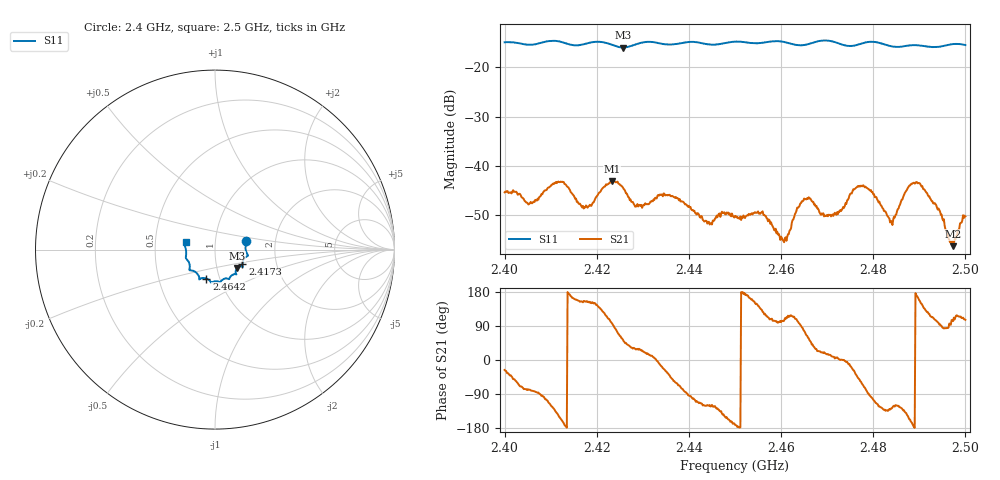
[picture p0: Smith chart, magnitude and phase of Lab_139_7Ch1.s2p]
# Hz S RI R 50
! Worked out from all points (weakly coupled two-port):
!   601 points, 2.4 GHz to 2.5 GHz, reference 50 ohm
!   highest |S21| = -43.09 dB at 2.4233 GHz (marker M1); lowest = -56.4 dB at 2.4973 GHz (marker M2)
!   lowest |S11| = -15.9 dB at 2.4257 GHz (marker M3), VSWR 1.38, Z = 62.4 - j13.1 ohm
!   |S11| at or under -10 dB: start of sweep to end of sweep
!   S12 and S22 are empty: the file has one direction only
!   S11 on the Smith chart (normalised r, x): 2.4 GHz: 1.41, +0.14; 2.4173 GHz: 1.34, -0.23; 2.4642 GHz: 0.86, -0.29; 2.5 GHz: 0.72, +0.06
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2.4e9  0.1734 0.0495  0.00481 -0.00237  0 0  0 0
2.4055e9  0.1698 0.00695  0.000829 -0.00408  0 0  0 0
2.412333e9  0.1779 -0.0373  -0.00633 -0.00258  0 0  0 0
2.416667e9  0.1529 -0.0747  -0.00348 0.00165  0 0  0 0
2.417333e9  0.1524 -0.0821  -0.00347 0.00157  0 0  0 0
2.423333e9  0.1423 -0.0932  -0.000787 0.00697  0 0  0 0
2.425667e9  0.1223 -0.1025  0.00354 0.00486  0 0  0 0
2.428667e9  0.1154 -0.129  0.00339 0.00186  0 0  0 0
2.433333e9  0.1128 -0.1365  0.00502 -0.000521  0 0  0 0
2.4445e9  0.0593 -0.1607  -0.00122 -0.00221  0 0  0 0
2.45e9  0.0297 -0.1807  -0.00304 -0.000488  0 0  0 0
2.456167e9  -0.00805 -0.1786  -0.00185 0.00255  0 0  0 0
2.460667e9  -0.0248 -0.1798  -0.000401 0.00161  0 0  0 0
2.464167e9  -0.0481 -0.1611  -0.000211 0.00411  0 0  0 0
2.466667e9  -0.0762 -0.1598  0.00329 0.00285  0 0  0 0
2.471333e9  -0.0871 -0.161  0.00305 0.000455  0 0  0 0
2.477833e9  -0.1339 -0.1159  0.00246 -0.00583  0 0  0 0
2.483333e9  -0.1407 -0.0896  -0.00198 -0.00221  0 0  0 0
2.489667e9  -0.1627 -0.043  -0.00641 0.00165  0 0  0 0
2.494e9  -0.1618 -0.00118  -0.00061 0.00353  0 0  0 0
2.497333e9  -0.1708 0.0279  -0.000334 0.00148  0 0  0 0
2.5e9  -0.1637 0.0419  -0.000843 0.00293  0 0  0 0
